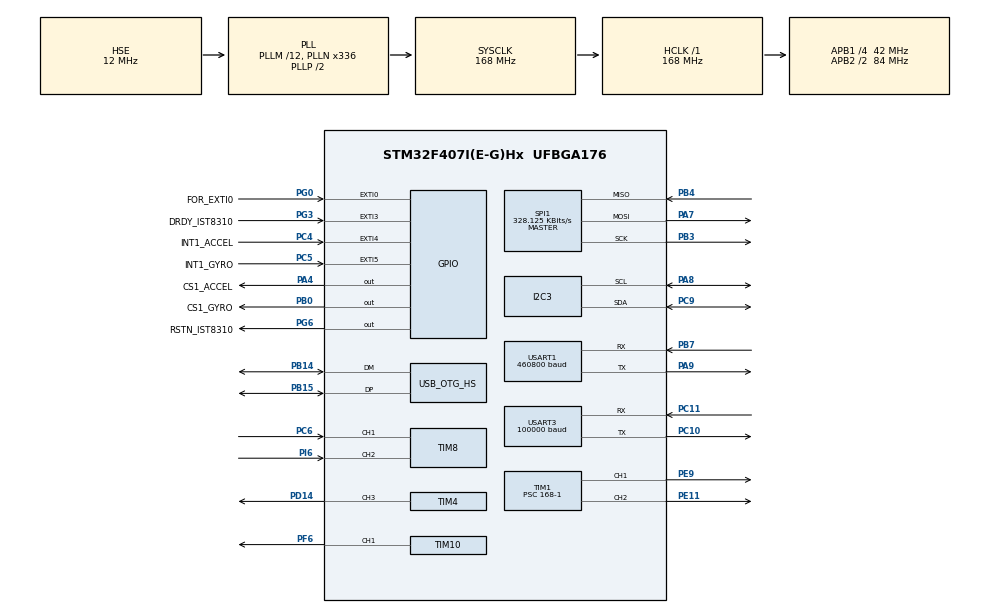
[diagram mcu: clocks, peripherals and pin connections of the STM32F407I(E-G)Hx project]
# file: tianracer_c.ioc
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Dma.Request0=USART1_RX
Dma.Request1=USART1_TX
Dma.Request2=USART3_RX
Dma.Request3=SPI1_RX
Dma.Request4=SPI1_TX
Dma.SPI1_RX.3.Direction=DMA_PERIPH_TO_MEMORY
Dma.SPI1_RX.3.FIFOMode=DMA_FIFOMODE_DISABLE
Dma.SPI1_RX.3.Instance=DMA2_Stream2
Dma.SPI1_RX.3.MemDataAlignment=DMA_MDATAALIGN_BYTE
Dma.SPI1_RX.3.MemInc=DMA_MINC_ENABLE
Dma.SPI1_RX.3.Mode=DMA_NORMAL
Dma.SPI1_RX.3.PeriphDataAlignment=DMA_PDATAALIGN_BYTE
Dma.SPI1_RX.3.PeriphInc=DMA_PINC_DISABLE
Dma.SPI1_RX.3.Priority=DMA_PRIORITY_VERY_HIGH
Dma.SPI1_TX.4.Direction=DMA_MEMORY_TO_PERIPH
Dma.SPI1_TX.4.FIFOMode=DMA_FIFOMODE_DISABLE
Dma.SPI1_TX.4.Instance=DMA2_Stream3
Dma.SPI1_TX.4.MemDataAlignment=DMA_MDATAALIGN_BYTE
Dma.SPI1_TX.4.MemInc=DMA_MINC_ENABLE
Dma.SPI1_TX.4.Mode=DMA_NORMAL
Dma.SPI1_TX.4.PeriphDataAlignment=DMA_PDATAALIGN_BYTE
Dma.SPI1_TX.4.PeriphInc=DMA_PINC_DISABLE
Dma.SPI1_TX.4.Priority=DMA_PRIORITY_HIGH
Dma.USART1_RX.0.Direction=DMA_PERIPH_TO_MEMORY
Dma.USART1_RX.0.FIFOMode=DMA_FIFOMODE_DISABLE
Dma.USART1_RX.0.Instance=DMA2_Stream5
Dma.USART1_RX.0.MemDataAlignment=DMA_MDATAALIGN_BYTE
Dma.USART1_RX.0.MemInc=DMA_MINC_ENABLE
Dma.USART1_RX.0.Mode=DMA_NORMAL
Dma.USART1_RX.0.PeriphDataAlignment=DMA_PDATAALIGN_BYTE
Dma.USART1_RX.0.PeriphInc=DMA_PINC_DISABLE
Dma.USART1_RX.0.Priority=DMA_PRIORITY_LOW
Dma.USART1_TX.1.Direction=DMA_MEMORY_TO_PERIPH
Dma.USART1_TX.1.FIFOMode=DMA_FIFOMODE_DISABLE
Dma.USART1_TX.1.Instance=DMA2_Stream7
Dma.USART1_TX.1.MemDataAlignment=DMA_MDATAALIGN_BYTE
Dma.USART1_TX.1.MemInc=DMA_MINC_ENABLE
Dma.USART1_TX.1.Mode=DMA_NORMAL
Dma.USART1_TX.1.PeriphDataAlignment=DMA_PDATAALIGN_BYTE
Dma.USART1_TX.1.PeriphInc=DMA_PINC_DISABLE
Dma.USART1_TX.1.Priority=DMA_PRIORITY_LOW
Dma.USART3_RX.2.Direction=DMA_PERIPH_TO_MEMORY
Dma.USART3_RX.2.FIFOMode=DMA_FIFOMODE_DISABLE
Dma.USART3_RX.2.Instance=DMA1_Stream1
Dma.USART3_RX.2.MemDataAlignment=DMA_MDATAALIGN_BYTE
Dma.USART3_RX.2.MemInc=DMA_MINC_ENABLE
Dma.USART3_RX.2.Mode=DMA_NORMAL
Dma.USART3_RX.2.PeriphDataAlignment=DMA_PDATAALIGN_BYTE
Dma.USART3_RX.2.PeriphInc=DMA_PINC_DISABLE
Dma.USART3_RX.2.Priority=DMA_PRIORITY_LOW
FREERTOS.MEMORY_ALLOCATION=2
FREERTOS.Tasks01=defaultTask,0,128,StartDefaultTask,Default,NULL,Dynamic,NULL,NULL
FREERTOS.configENABLE_BACKWARD_COMPATIBILITY=0
FREERTOS.configENABLE_FPU=1
FREERTOS.configTOTAL_HEAP_SIZE=65536
FREERTOS.configUSE_TRACE_FACILITY=0
I2C3.I2C_Mode=I2C_Fast
Mcu.Family=STM32F4
Mcu.Name=STM32F407I(E-G)Hx
Mcu.Package=UFBGA176
NVIC.DMA1_Stream1_IRQn=true\:5\:0\:false\:false\:true\:true\:false\:true\:true
NVIC.DMA2_Stream2_IRQn=true\:5\:0\:true\:false\:false\:true\:false\:false\:true
NVIC.DMA2_Stream3_IRQn=true\:5\:0\:false\:false\:false\:true\:false\:false\:true
NVIC.DMA2_Stream5_IRQn=true\:5\:0\:false\:false\:true\:true\:false\:true\:true
NVIC.DMA2_Stream7_IRQn=true\:5\:0\:false\:false\:true\:true\:false\:true\:true
NVIC.EXTI0_IRQn=true\:5\:0\:false\:false\:true\:true\:true\:true\:true
NVIC.EXTI3_IRQn=true\:5\:0\:false\:false\:true\:true\:true\:true\:true
NVIC.EXTI4_IRQn=true\:5\:0\:false\:false\:true\:true\:true\:true\:true
NVIC.EXTI9_5_IRQn=true\:5\:0\:false\:false\:true\:true\:true\:true\:true
NVIC.OTG_HS_IRQn=true\:5\:0\:false\:false\:true\:true\:false\:true\:true
NVIC.PriorityGroup=NVIC_PRIORITYGROUP_4
NVIC.TIM6_DAC_IRQn=true\:15\:0\:false\:false\:true\:false\:false\:true\:true
NVIC.TimeBase=TIM6_DAC_IRQn
NVIC.TimeBaseIP=TIM6
NVIC.USART1_IRQn=true\:5\:0\:false\:false\:true\:true\:true\:true\:true
NVIC.USART3_IRQn=true\:5\:0\:false\:false\:true\:true\:true\:true\:true
PA13.Mode=Serial_Wire
PA13.Signal=SYS_JTMS-SWDIO
PA14.Mode=Serial_Wire
PA14.Signal=SYS_JTCK-SWCLK
PA4.GPIO_Label=CS1_ACCEL
PA4.GPIO_PuPd=GPIO_NOPULL
PA4.GPIO_Speed=GPIO_SPEED_FREQ_VERY_HIGH
PA4.PinState=GPIO_PIN_SET
PA4.Signal=GPIO_Output
PA7.Mode=Full_Duplex_Master
PA7.Signal=SPI1_MOSI
PA8.Mode=I2C
PA8.Signal=I2C3_SCL
PA9.GPIO_PuPd=GPIO_PULLUP
PA9.Mode=Asynchronous
PA9.Signal=USART1_TX
PB0.GPIO_Label=CS1_GYRO
PB0.GPIO_PuPd=GPIO_NOPULL
PB0.GPIO_Speed=GPIO_SPEED_FREQ_VERY_HIGH
PB0.PinState=GPIO_PIN_SET
PB0.Signal=GPIO_Output
PB14.Mode=Device_Only_FS
PB14.Signal=USB_OTG_HS_DM
PB15.Mode=Device_Only_FS
PB15.Signal=USB_OTG_HS_DP
PB3.Mode=Full_Duplex_Master
PB3.Signal=SPI1_SCK
PB4.Mode=Full_Duplex_Master
PB4.Signal=SPI1_MISO
PB7.GPIO_PuPd=GPIO_PULLUP
PB7.Mode=Asynchronous
PB7.Signal=USART1_RX
PC10.Mode=Asynchronous
PC10.Signal=USART3_TX
PC11.Mode=Asynchronous
PC11.Signal=USART3_RX
PC4.GPIO_Label=INT1_ACCEL
PC4.GPIO_ModeDefaultEXTI=GPIO_MODE_IT_FALLING
PC4.GPIO_PuPd=GPIO_PULLUP
PC4.Signal=GPXTI4
PC5.GPIO_Label=INT1_GYRO
PC5.GPIO_ModeDefaultEXTI=GPIO_MODE_IT_FALLING
PC5.GPIO_PuPd=GPIO_PULLUP
PC5.Signal=GPXTI5
PC6.Signal=S_TIM8_CH1
PC9.Mode=I2C
PC9.Signal=I2C3_SDA
PD14.Signal=S_TIM4_CH3
PE11.Signal=S_TIM1_CH2
PE9.Signal=S_TIM1_CH1
PF6.Signal=S_TIM10_CH1
PG0.GPIO_Label=FOR_EXTI0
PG0.GPIO_ModeDefaultEXTI=GPIO_MODE_IT_FALLING
PG0.GPIO_PuPd=GPIO_PULLUP
PG0.Signal=GPXTI0
PG3.GPIO_Label=DRDY_IST8310
PG3.GPIO_ModeDefaultEXTI=GPIO_MODE_IT_FALLING
PG3.GPIO_PuPd=GPIO_PULLUP
PG3.Signal=GPXTI3
PG6.GPIO_Label=RSTN_IST8310
PG6.GPIO_PuPd=GPIO_PULLUP
PG6.GPIO_Speed=GPIO_SPEED_FREQ_VERY_HIGH
PG6.PinState=GPIO_PIN_RESET
PG6.Signal=GPIO_Output
PH0-OSC_IN.Mode=HSE-External-Oscillator
PH0-OSC_IN.Signal=RCC_OSC_IN
PH1-OSC_OUT.Mode=HSE-External-Oscillator
PH1-OSC_OUT.Signal=RCC_OSC_OUT
PI6.Signal=S_TIM8_CH2
ProjectManager.HeapSize=0x2000
ProjectManager.StackSize=0x2000
ProjectManager.TargetToolchain=Makefile
RCC.48MHZClocksFreq_Value=48000000
RCC.AHBFreq_Value=168000000
RCC.APB1CLKDivider=RCC_HCLK_DIV4
RCC.APB1Freq_Value=42000000
RCC.APB1TimFreq_Value=84000000
RCC.APB2CLKDivider=RCC_HCLK_DIV2
RCC.APB2Freq_Value=84000000
RCC.APB2TimFreq_Value=168000000
RCC.CortexFreq_Value=168000000
RCC.HCLKFreq_Value=168000000
RCC.HSE_VALUE=12000000
RCC.HSI_VALUE=16000000
RCC.LSE_VALUE=32768
RCC.PLLM=12
RCC.PLLN=336
RCC.PLLQ=7
RCC.SYSCLKFreq_VALUE=168000000
RCC.SYSCLKSource=RCC_SYSCLKSOURCE_PLLCLK
RCC.VCOOutputFreq_Value=336000000
SH.S_TIM10_CH1.0=TIM10_CH1,PWM Generation1 CH1
SH.S_TIM1_CH1.0=TIM1_CH1,PWM Generation1 CH1
SH.S_TIM1_CH2.0=TIM1_CH2,PWM Generation2 CH2
SH.S_TIM4_CH3.0=TIM4_CH3,PWM Generation3 CH3
SH.S_TIM8_CH1.0=TIM8_CH1,Encoder_Interface
SH.S_TIM8_CH2.0=TIM8_CH2,Encoder_Interface
SPI1.BaudRatePrescaler=SPI_BAUDRATEPRESCALER_256
SPI1.CLKPhase=SPI_PHASE_2EDGE
SPI1.CLKPolarity=SPI_POLARITY_HIGH
SPI1.CalculateBaudRate=328.125 KBits/s
SPI1.Direction=SPI_DIRECTION_2LINES
SPI1.Mode=SPI_MODE_MASTER
SPI1.VirtualType=VM_MASTER
TIM1.Channel-PWM\ Generation1\ CH1=TIM_CHANNEL_1
TIM1.Channel-PWM\ Generation2\ CH2=TIM_CHANNEL_2
TIM1.Period=10000-1
TIM1.Prescaler=168-1
TIM10.Channel=TIM_CHANNEL_1
TIM4.Channel-PWM\ Generation3\ CH3=TIM_CHANNEL_3
TIM4.Period=50000-1
TIM4.Prescaler=84-1
TIM8.IC2Polarity=TIM_ICPOLARITY_FALLING
USART1.BaudRate=460800
USART1.VirtualMode=VM_ASYNC
USART3.BaudRate=100000
USART3.Mode=MODE_RX
USART3.Parity=PARITY_EVEN
USART3.VirtualMode=VM_ASYNC
USART3.WordLength=WORDLENGTH_9B
USB_DEVICE.CLASS_NAME_HS=CDC
USB_DEVICE.MANUFACTURER_STRING-CDC_HS=Tianbot
USB_DEVICE.PRODUCT_STRING_CDC_HS=Tianracer
USB_DEVICE.VirtualMode-CDC_HS=Cdc
USB_DEVICE.VirtualModeHS=Cdc_HS
USB_OTG_HS.VirtualMode-Device_Only_FS=Device_Only_FS
VP_FREERTOS_VS_CMSIS_V1.Mode=CMSIS_V1
VP_SYS_VS_tim6.Mode=TIM6
VP_TIM10_VS_ClockSourceINT.Mode=Enable_Timer
VP_TIM1_VS_ClockSourceINT.Mode=Internal
VP_TIM4_VS_ClockSourceINT.Mode=Internal
VP_USB_DEVICE_VS_USB_DEVICE_CDC_HS.Mode=CDC_HS
board=custom

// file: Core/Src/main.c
/* USER CODE BEGIN Header */
/**
  ******************************************************************************
  * @file           : main.c
  * @brief          : Main program body
  ******************************************************************************
  * @attention
  *
  * Copyright (c) 2022 STMicroelectronics.
  * All rights reserved.
  *
  * This software is licensed under terms that can be found in the LICENSE file
  * in the root directory of this software component.
  * If no LICENSE file comes with this software, it is provided AS-IS.
  *
  ******************************************************************************
  */
/* USER CODE END Header */
#include "main.h"
#include "cmsis_os.h"
#include "dma.h"
#include "i2c.h"
#include "spi.h"
#include "tim.h"
#include "usart.h"
#include "usb_device.h"
#include "gpio.h"

/* USER CODE BEGIN Includes */
#include "param.h"
#include "beep.h"
/* USER CODE END Includes */

void SystemClock_Config(void);
void MX_FREERTOS_Init(void);

int main(void)
{

  /* MCU Configuration--------------------------------------------------------*/

  /* Reset of all peripherals, Initializes the Flash interface and the Systick. */
  HAL_Init();

  /* Configure the system clock */
  SystemClock_Config();

  /* Initialize all configured peripherals */
  MX_GPIO_Init();
  MX_I2C3_Init();
  MX_DMA_Init();
  MX_SPI1_Init();
  MX_TIM1_Init();
  MX_TIM10_Init();
  MX_TIM4_Init();
  MX_TIM8_Init();
  MX_USART1_UART_Init();
  MX_USART3_UART_Init();
  /* USER CODE BEGIN 2 */
  BeepInit();
  BeepOn(3);
  HAL_Delay(200);
  BeepOff();
  InitParam();
  /* USER CODE END 2 */

  /* Call init function for freertos objects (in freertos.c) */
  MX_FREERTOS_Init();

  /* Start scheduler */
  osKernelStart();

  /* We should never get here as control is now taken by the scheduler */
  /* Infinite loop */
  while (1)
  {

  }
}

void SystemClock_Config(void)
{
  RCC_OscInitTypeDef RCC_OscInitStruct = {0};
  RCC_ClkInitTypeDef RCC_ClkInitStruct = {0};

  /** Configure the main internal regulator output voltage
  */
  __HAL_RCC_PWR_CLK_ENABLE();
  __HAL_PWR_VOLTAGESCALING_CONFIG(PWR_REGULATOR_VOLTAGE_SCALE1);

  /** Initializes the RCC Oscillators according to the specified parameters
  * in the RCC_OscInitTypeDef structure.
  */
  RCC_OscInitStruct.OscillatorType = RCC_OSCILLATORTYPE_HSE;
  RCC_OscInitStruct.HSEState = RCC_HSE_ON;
  RCC_OscInitStruct.PLL.PLLState = RCC_PLL_ON;
  RCC_OscInitStruct.PLL.PLLSource = RCC_PLLSOURCE_HSE;
  RCC_OscInitStruct.PLL.PLLM = 12;
  RCC_OscInitStruct.PLL.PLLN = 336;
  RCC_OscInitStruct.PLL.PLLP = RCC_PLLP_DIV2;
  RCC_OscInitStruct.PLL.PLLQ = 7;
  if (HAL_RCC_OscConfig(&RCC_OscInitStruct) != HAL_OK)
  {
    Error_Handler();
  }

  /** Initializes the CPU, AHB and APB buses clocks
  */
  RCC_ClkInitStruct.ClockType = RCC_CLOCKTYPE_HCLK|RCC_CLOCKTYPE_SYSCLK
                              |RCC_CLOCKTYPE_PCLK1|RCC_CLOCKTYPE_PCLK2;
  RCC_ClkInitStruct.SYSCLKSource = RCC_SYSCLKSOURCE_PLLCLK;
  RCC_ClkInitStruct.AHBCLKDivider = RCC_SYSCLK_DIV1;
  RCC_ClkInitStruct.APB1CLKDivider = RCC_HCLK_DIV4;
  RCC_ClkInitStruct.APB2CLKDivider = RCC_HCLK_DIV2;

  if (HAL_RCC_ClockConfig(&RCC_ClkInitStruct, FLASH_LATENCY_5) != HAL_OK)
  {
    Error_Handler();
  }
}

void HAL_TIM_PeriodElapsedCallback(TIM_HandleTypeDef *htim)
{
  if (htim->Instance == TIM6) {
    HAL_IncTick();
  }
}

void Error_Handler(void)
{
  __disable_irq();
  while (1)
  {
  }
}

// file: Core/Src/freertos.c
/* USER CODE BEGIN Header */
/**
  ******************************************************************************
  * File Name          : freertos.c
  * Description        : Code for freertos applications
  ******************************************************************************
  * @attention
  *
  * Copyright (c) 2022 STMicroelectronics.
  * All rights reserved.
  *
  * This software is licensed under terms that can be found in the LICENSE file
  * in the root directory of this software component.
  * If no LICENSE file comes with this software, it is provided AS-IS.
  *
  ******************************************************************************
  */
/* USER CODE END Header */

#include "FreeRTOS.h"
#include "task.h"
#include "main.h"
#include "cmsis_os.h"

/* USER CODE BEGIN Includes */
#include "param.h"
#include "dbus_task.h"
#include "racecar_task.h"
#include "protocol_task.h"
#include "imu_task.h"
#include "beep_task.h"
/* USER CODE END Includes */

osThreadId defaultTaskHandle;

void StartDefaultTask(void const * argument);

extern void MX_USB_DEVICE_Init(void);
void MX_FREERTOS_Init(void); /* (MISRA C 2004 rule 8.1) */

/* GetIdleTaskMemory prototype (linked to static allocation support) */
void vApplicationGetIdleTaskMemory( StaticTask_t **ppxIdleTaskTCBBuffer, StackType_t **ppxIdleTaskStackBuffer, uint32_t *pulIdleTaskStackSize );

/* USER CODE BEGIN GET_IDLE_TASK_MEMORY */
static StaticTask_t xIdleTaskTCBBuffer;
static StackType_t xIdleStack[configMINIMAL_STACK_SIZE];

void vApplicationGetIdleTaskMemory( StaticTask_t **ppxIdleTaskTCBBuffer, StackType_t **ppxIdleTaskStackBuffer, uint32_t *pulIdleTaskStackSize )
{
  *ppxIdleTaskTCBBuffer = &xIdleTaskTCBBuffer;
  *ppxIdleTaskStackBuffer = &xIdleStack[0];
  *pulIdleTaskStackSize = configMINIMAL_STACK_SIZE;
  /* place for user code */
}
/* USER CODE END GET_IDLE_TASK_MEMORY */

void MX_FREERTOS_Init(void) {
  /* USER CODE BEGIN Init */
  BeepTaskInit();
  DbusTaskInit();
  ProtocolTaskInit();
  ImuTaskInit();
  RacecarTaskInit();
  /* USER CODE END Init */

  /* Create the thread(s) */
  /* definition and creation of defaultTask */
  osThreadDef(defaultTask, StartDefaultTask, osPriorityNormal, 0, 128);
  defaultTaskHandle = osThreadCreate(osThread(defaultTask), NULL);

}

void StartDefaultTask(void const * argument)
{
  /* init code for USB_DEVICE */
  MX_USB_DEVICE_Init();
  for(;;)
  {
    osDelay(1);
  }
}
